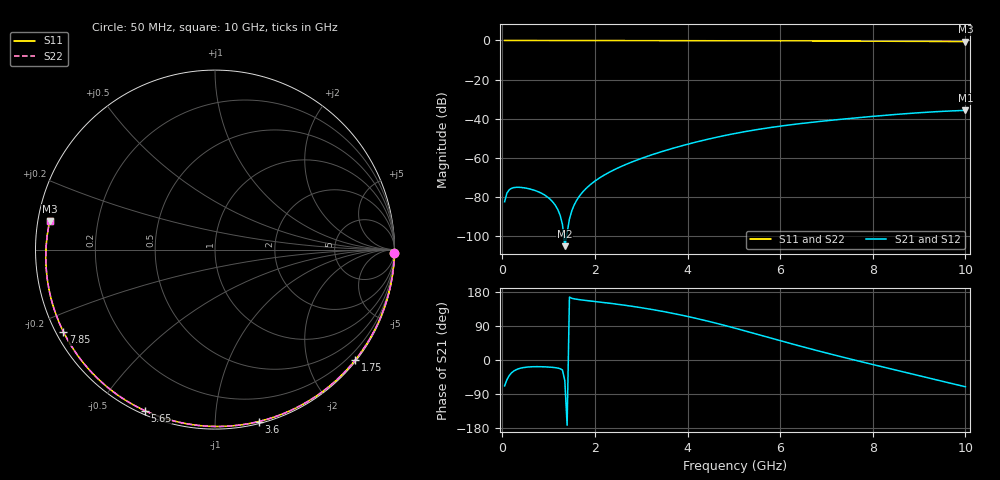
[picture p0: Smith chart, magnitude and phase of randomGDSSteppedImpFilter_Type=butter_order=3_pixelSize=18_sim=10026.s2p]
! freq	dB(S11)	phase(S11)	dB(S12)	phase(S12)
!  dB(S21)	phase(S21)	dB(S22)	phase(S22)
!S-par simulation data
#  GHz  S  DB  R 50
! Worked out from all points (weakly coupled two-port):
!   200 points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, 50 MHz to 10 GHz, reference 50 ohm
!   highest |S21| = -35.78 dB at 10 GHz (marker M1); lowest = -105.3 dB at 1.35 GHz (marker M2)
!   lowest |S11| = -0.6 dB at 10 GHz (marker M3), VSWR 29.49, Z = 1.71 + j4.27 ohm
!   |S11| at or under -10 dB: nowhere
!   |S22| runs from -0.6 to 0.0 dB; largest |S21 - S12| = 0
!   S11 on the Smith chart (normalised r, x): 50 MHz: open; 1.75 GHz: 0.03, -2.89; 3.6 GHz: 0.02, -1.28; 5.65 GHz: 0.02, -0.65; 7.85 GHz: 0.02, -0.25; 10 GHz: 0.03, +0.09
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0.05  -0.00 -1.1  -82.54 -68.4  -82.54 -68.4  -0.00 -1.1
0.15  -0.00 -3.4  -76.40 -41.0  -76.40 -41.0  -0.00 -3.4
0.25  -0.00 -5.6  -75.29 -28.9  -75.29 -28.9  -0.00 -5.6
0.35  -0.01 -7.8  -75.12 -23.1  -75.12 -23.1  -0.01 -7.8
0.65  -0.02 -14.4  -76.34 -17.8  -76.34 -17.8  -0.02 -14.4
1  -0.03 -22.1  -80.56 -18.6  -80.56 -18.6  -0.03 -22.0
1.35  -0.04 -29.6  -105.26 -54.6  -105.26 -54.6  -0.04 -29.6
1.65  -0.05 -36.0  -80.17 159.4  -80.17 159.4  -0.05 -36.0
1.75  -0.05 -38.2  -77.20 157.9  -77.20 157.9  -0.05 -38.2
2  -0.05 -43.4  -71.96 154.4  -71.96 154.4  -0.05 -43.4
2.35  -0.06 -50.7  -66.94 149.3  -66.94 149.3  -0.06 -50.7
2.8  -0.08 -59.9  -62.17 141.8  -62.17 141.8  -0.08 -59.9
3.4  -0.09 -71.9  -57.19 129.7  -57.19 129.7  -0.09 -71.9
3.6  -0.10 -75.8  -55.75 125.1  -55.75 125.1  -0.10 -75.8
4.3  -0.13 -89.1  -51.32 106.6  -51.32 106.6  -0.13 -89.1
5.05  -0.16 -102.9  -47.48 83.2  -47.48 83.2  -0.16 -102.9
5.65  -0.19 -113.6  -45.05 62.9  -45.05 62.9  -0.19 -113.6
6.7  -0.25 -131.8  -41.84 27.9  -41.84 27.9  -0.25 -131.8
7.85  -0.35 -151.5  -39.15 -7.4  -39.15 -7.4  -0.35 -151.5
8.35  -0.40 -160.2  -38.14 -22.2  -38.14 -22.2  -0.40 -160.1
9.2  -0.49 -175.1  -36.68 -47.3  -36.68 -47.3  -0.49 -175.1
10  -0.59 170.2  -35.78 -70.6  -35.78 -70.6  -0.59 170.3
